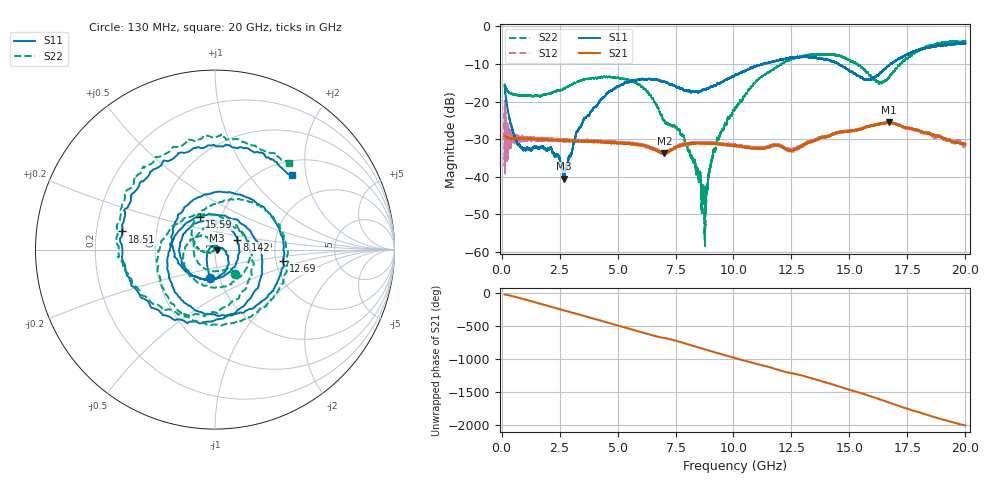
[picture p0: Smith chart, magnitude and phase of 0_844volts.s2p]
!Created with skrf (http://scikit-rf.org).
# GHz S RI R 50.0
!freq ReS11 ImS11 ReS21 ImS21 ReS12 ImS12 ReS22 ImS22
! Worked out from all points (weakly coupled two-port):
!   20013 points, 130 MHz to 20 GHz, reference 50 ohm
!   highest |S21| = -25.55 dB at 16.69 GHz (marker M1); lowest = -33.8 dB at 7.019 GHz (marker M2)
!   lowest |S11| = -40.5 dB at 2.691 GHz (marker M3), VSWR 1.02, Z = 50.9 - j0.395 ohm
!   |S11| at or under -10 dB: start of sweep to 11.28 GHz; 11.28551 GHz to 11.2865 GHz (987.2 kHz wide, 0.00875 % of centre); 14.53 GHz to 16.76 GHz (2.233 GHz wide, 14.3 % of centre) (the widest 3 of 8)
!   |S22| runs from -58.5 to -3.8 dB; largest |S21 - S12| = 0.07
!   S11 on the Smith chart (normalised r, x): 130 MHz: 0.90, -0.29; 8.142 GHz: 1.27, +0.14; 12.69 GHz: 2.19, -0.33; 15.59 GHz: 0.79, +0.30; 18.51 GHz: 0.31, +0.09; 20 GHz: 1.32, +1.66
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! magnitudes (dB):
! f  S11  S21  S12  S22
! 130 MHz  -15.9  -29.1  -24.3  -15.2
! 732 MHz  -31.6  -29.9  -30.1  -18.4
! 2.085 GHz  -32.3  -30.2  -30.3  -17.8
! 2.691 GHz  -40.5  -30.4  -30.4  -16.5
! 3.442 GHz  -26.3  -30.5  -30.4  -14.4
! 4.611 GHz  -17.5  -30.9  -31.1  -13.5
! 5.706 GHz  -14.3  -31.3  -31.3  -14.8
! 6.754 GHz  -14.2  -33.1  -32.9  -21.8
! 7.019 GHz  -14.7  -33.8  -33.9  -25.0
! 8.142 GHz  -17.5  -31.2  -31.0  -34.3
! 8.506 GHz  -17.4  -31.0  -31.0  -40.3
! 8.723 GHz  -16.7  -31.0  -31.1  -44.6
! 9.218 GHz  -15.7  -31.2  -31.3  -32.9
! 10.06 GHz  -13.0  -31.7  -31.7  -21.9
! 11.15 GHz  -10.2  -32.4  -32.4  -13.7
! 12.69 GHz  -8.3  -32.7  -32.7  -8.3
! 13.38 GHz  -8.2  -30.6  -30.5  -7.6
! 15.59 GHz  -13.9  -27.1  -27.2  -11.3
! 16.69 GHz  -10.4  -25.6  -25.6  -13.7
! 16.69 GHz  -10.5  -25.6  -25.6  -13.6
! 18.51 GHz  -5.6  -28.6  -28.9  -5.1
! 20 GHz  -4.6  -31.4  -31.8  -3.8
